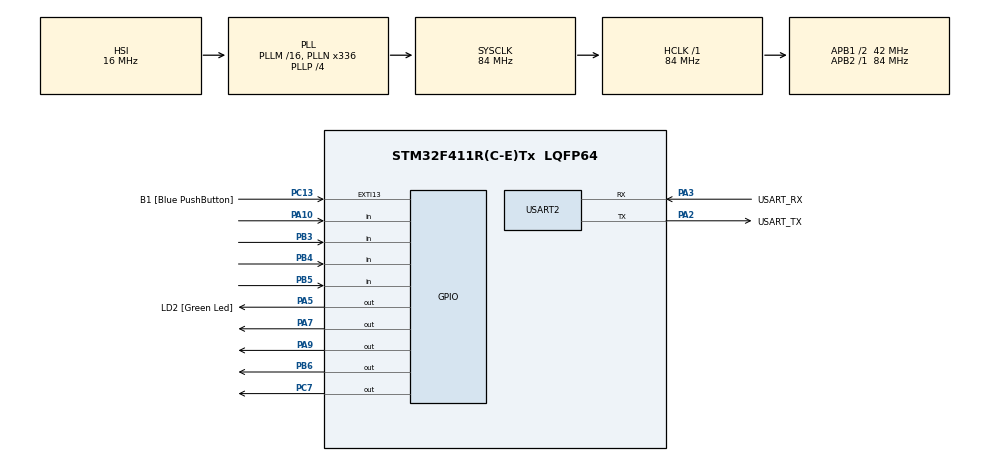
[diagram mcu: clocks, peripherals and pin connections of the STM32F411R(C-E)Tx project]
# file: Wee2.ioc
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Mcu.Family=STM32F4
Mcu.Name=STM32F411R(C-E)Tx
Mcu.Package=LQFP64
NVIC.PriorityGroup=NVIC_PRIORITYGROUP_0
PA10.GPIO_PuPd=GPIO_PULLUP
PA10.Signal=GPIO_Input
PA13.GPIO_Label=TMS
PA13.Mode=Serial_Wire
PA13.Signal=SYS_JTMS-SWDIO
PA14.GPIO_Label=TCK
PA14.Mode=Serial_Wire
PA14.Signal=SYS_JTCK-SWCLK
PA2.GPIO_Label=USART_TX
PA2.Mode=Asynchronous
PA2.Signal=USART2_TX
PA3.GPIO_Label=USART_RX
PA3.Mode=Asynchronous
PA3.Signal=USART2_RX
PA5.GPIO_Label=LD2 [Green Led]
PA5.Signal=GPIO_Output
PA7.GPIO_ModeDefaultOutputPP=GPIO_MODE_OUTPUT_OD
PA7.PinState=GPIO_PIN_SET
PA7.Signal=GPIO_Output
PA9.GPIO_ModeDefaultOutputPP=GPIO_MODE_OUTPUT_OD
PA9.PinState=GPIO_PIN_SET
PA9.Signal=GPIO_Output
PB3.GPIO_PuPd=GPIO_PULLUP
PB3.Signal=GPIO_Input
PB4.GPIO_PuPd=GPIO_PULLUP
PB4.Signal=GPIO_Input
PB5.GPIO_PuPd=GPIO_PULLUP
PB5.Signal=GPIO_Input
PB6.GPIO_ModeDefaultOutputPP=GPIO_MODE_OUTPUT_OD
PB6.PinState=GPIO_PIN_SET
PB6.Signal=GPIO_Output
PC13-ANTI_TAMP.GPIO_Label=B1 [Blue PushButton]
PC13-ANTI_TAMP.GPIO_ModeDefaultEXTI=GPIO_MODE_IT_FALLING
PC13-ANTI_TAMP.Signal=GPXTI13
PC14-OSC32_IN.Mode=LSE-External-Oscillator
PC14-OSC32_IN.Signal=RCC_OSC32_IN
PC15-OSC32_OUT.Mode=LSE-External-Oscillator
PC15-OSC32_OUT.Signal=RCC_OSC32_OUT
PC7.GPIO_ModeDefaultOutputPP=GPIO_MODE_OUTPUT_OD
PC7.PinState=GPIO_PIN_SET
PC7.Signal=GPIO_Output
PH0\ -\ OSC_IN.Mode=HSE-External-Clock-Source
PH0\ -\ OSC_IN.Signal=RCC_OSC_IN
PH1\ -\ OSC_OUT.Mode=HSE-External-Clock-Source
PH1\ -\ OSC_OUT.Signal=RCC_OSC_OUT
ProjectManager.HeapSize=0x200
ProjectManager.StackSize=0x400
ProjectManager.TargetToolchain=STM32CubeIDE
RCC.48MHZClocksFreq_Value=84000000
RCC.AHBFreq_Value=84000000
RCC.APB1CLKDivider=RCC_HCLK_DIV2
RCC.APB1Freq_Value=42000000
RCC.APB1TimFreq_Value=84000000
RCC.APB2Freq_Value=84000000
RCC.APB2TimFreq_Value=84000000
RCC.CortexFreq_Value=84000000
RCC.FLatency-AdvancedSettings=FLASH_LATENCY_2
RCC.HCLKFreq_Value=84000000
RCC.HSE_VALUE=8000000
RCC.HSI_VALUE=16000000
RCC.PLLN=336
RCC.PLLP=RCC_PLLP_DIV4
RCC.SYSCLKFreq_VALUE=84000000
RCC.SYSCLKSource=RCC_SYSCLKSOURCE_PLLCLK
RCC.VCOOutputFreq_Value=336000000
USART2.VirtualMode=VM_ASYNC
board=NUCLEO-F411RE

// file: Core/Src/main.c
/* USER CODE BEGIN Header */
/**
  ******************************************************************************
  * @file           : main.c
  * @brief          : Main program body
  ******************************************************************************
  * @attention
  *
  * <h2><center>&copy; Copyright (c) 2021 STMicroelectronics.
  * All rights reserved.</center></h2>
  *
  * This software component is licensed by ST under BSD 3-Clause license,
  * the "License"; You may not use this file except in compliance with the
  * License. You may obtain a copy of the License at:
  *                        opensource.org/licenses/BSD-3-Clause
  *
  ******************************************************************************
  */
/* USER CODE END Header */
#include "main.h"

UART_HandleTypeDef huart2;

/* USER CODE BEGIN PV */
uint16_t ButtonMatrixState = 0 ;
/* USER CODE END PV */

void SystemClock_Config(void);
static void MX_GPIO_Init(void);
static void MX_USART2_UART_Init(void);
/* USER CODE BEGIN PFP */

void BottonMatrixUpdate() ;
//Button Timestamp
uint32_t ButtonMatrixTimeStamp = 0 ;
/* USER CODE END PFP */

int main(void)
{

  /* MCU Configuration--------------------------------------------------------*/

  /* Reset of all peripherals, Initializes the Flash interface and the Systick. */
  HAL_Init();

  /* Configure the system clock */
  SystemClock_Config();

  /* Initialize all configured peripherals */
  MX_GPIO_Init();
  MX_USART2_UART_Init();

  /* Infinite loop */
  /* USER CODE BEGIN WHILE */
  while (1)
  {
	  if(ButtonMatrixState == 0x8000)
	  {
		  HAL_GPIO_WritePin(GPIOA, GPIO_PIN_5, GPIO_PIN_SET);
	  }
	  else if(ButtonMatrixState == 0x400)
	  {
		  HAL_GPIO_WritePin(GPIOA, GPIO_PIN_5, GPIO_PIN_SET);
	  }
	  else if(ButtonMatrixState == 0x20)
	  	  {
	  		  HAL_GPIO_WritePin(GPIOA, GPIO_PIN_5, GPIO_PIN_SET);
	  	  }
	  else if(ButtonMatrixState == 0x1)
	  	  {
	  		  HAL_GPIO_WritePin(GPIOA, GPIO_PIN_5, GPIO_PIN_SET);
	  	  }
	  else
	  {
		  HAL_GPIO_WritePin(GPIOA, GPIO_PIN_5, GPIO_PIN_RESET);
	  }

	  /* USER CODE END WHILE */

    /* USER CODE BEGIN 3 */
	  BottonMatrixUpdate();
  }
  /* USER CODE END 3 */
}

void SystemClock_Config(void)
{
  RCC_OscInitTypeDef RCC_OscInitStruct = {0};
  RCC_ClkInitTypeDef RCC_ClkInitStruct = {0};

  /** Configure the main internal regulator output voltage
  */
  __HAL_RCC_PWR_CLK_ENABLE();
  __HAL_PWR_VOLTAGESCALING_CONFIG(PWR_REGULATOR_VOLTAGE_SCALE1);
  /** Initializes the RCC Oscillators according to the specified parameters
  * in the RCC_OscInitTypeDef structure.
  */
  RCC_OscInitStruct.OscillatorType = RCC_OSCILLATORTYPE_HSI;
  RCC_OscInitStruct.HSIState = RCC_HSI_ON;
  RCC_OscInitStruct.HSICalibrationValue = RCC_HSICALIBRATION_DEFAULT;
  RCC_OscInitStruct.PLL.PLLState = RCC_PLL_ON;
  RCC_OscInitStruct.PLL.PLLSource = RCC_PLLSOURCE_HSI;
  RCC_OscInitStruct.PLL.PLLM = 16;
  RCC_OscInitStruct.PLL.PLLN = 336;
  RCC_OscInitStruct.PLL.PLLP = RCC_PLLP_DIV4;
  RCC_OscInitStruct.PLL.PLLQ = 4;
  if (HAL_RCC_OscConfig(&RCC_OscInitStruct) != HAL_OK)
  {
    Error_Handler();
  }
  /** Initializes the CPU, AHB and APB buses clocks
  */
  RCC_ClkInitStruct.ClockType = RCC_CLOCKTYPE_HCLK|RCC_CLOCKTYPE_SYSCLK
                              |RCC_CLOCKTYPE_PCLK1|RCC_CLOCKTYPE_PCLK2;
  RCC_ClkInitStruct.SYSCLKSource = RCC_SYSCLKSOURCE_PLLCLK;
  RCC_ClkInitStruct.AHBCLKDivider = RCC_SYSCLK_DIV1;
  RCC_ClkInitStruct.APB1CLKDivider = RCC_HCLK_DIV2;
  RCC_ClkInitStruct.APB2CLKDivider = RCC_HCLK_DIV1;

  if (HAL_RCC_ClockConfig(&RCC_ClkInitStruct, FLASH_LATENCY_2) != HAL_OK)
  {
    Error_Handler();
  }
}

static void MX_USART2_UART_Init(void)
{

  huart2.Instance = USART2;
  huart2.Init.BaudRate = 115200;
  huart2.Init.WordLength = UART_WORDLENGTH_8B;
  huart2.Init.StopBits = UART_STOPBITS_1;
  huart2.Init.Parity = UART_PARITY_NONE;
  huart2.Init.Mode = UART_MODE_TX_RX;
  huart2.Init.HwFlowCtl = UART_HWCONTROL_NONE;
  huart2.Init.OverSampling = UART_OVERSAMPLING_16;
  if (HAL_UART_Init(&huart2) != HAL_OK)
  {
    Error_Handler();
  }

}

static void MX_GPIO_Init(void)
{
  GPIO_InitTypeDef GPIO_InitStruct = {0};

  /* GPIO Ports Clock Enable */
  __HAL_RCC_GPIOC_CLK_ENABLE();
  __HAL_RCC_GPIOH_CLK_ENABLE();
  __HAL_RCC_GPIOA_CLK_ENABLE();
  __HAL_RCC_GPIOB_CLK_ENABLE();

  /*Configure GPIO pin Output Level */
  HAL_GPIO_WritePin(LD2_GPIO_Port, LD2_Pin, GPIO_PIN_RESET);

  /*Configure GPIO pin Output Level */
  HAL_GPIO_WritePin(GPIOA, GPIO_PIN_7|GPIO_PIN_9, GPIO_PIN_SET);

  /*Configure GPIO pin Output Level */
  HAL_GPIO_WritePin(GPIOC, GPIO_PIN_7, GPIO_PIN_SET);

  /*Configure GPIO pin Output Level */
  HAL_GPIO_WritePin(GPIOB, GPIO_PIN_6, GPIO_PIN_SET);

  /*Configure GPIO pin : B1_Pin */
  GPIO_InitStruct.Pin = B1_Pin;
  GPIO_InitStruct.Mode = GPIO_MODE_IT_FALLING;
  GPIO_InitStruct.Pull = GPIO_NOPULL;
  HAL_GPIO_Init(B1_GPIO_Port, &GPIO_InitStruct);

  /*Configure GPIO pin : LD2_Pin */
  GPIO_InitStruct.Pin = LD2_Pin;
  GPIO_InitStruct.Mode = GPIO_MODE_OUTPUT_PP;
  GPIO_InitStruct.Pull = GPIO_NOPULL;
  GPIO_InitStruct.Speed = GPIO_SPEED_FREQ_LOW;
  HAL_GPIO_Init(LD2_GPIO_Port, &GPIO_InitStruct);

  /*Configure GPIO pins : PA7 PA9 */
  GPIO_InitStruct.Pin = GPIO_PIN_7|GPIO_PIN_9;
  GPIO_InitStruct.Mode = GPIO_MODE_OUTPUT_OD;
  GPIO_InitStruct.Pull = GPIO_NOPULL;
  GPIO_InitStruct.Speed = GPIO_SPEED_FREQ_LOW;
  HAL_GPIO_Init(GPIOA, &GPIO_InitStruct);

  /*Configure GPIO pin : PC7 */
  GPIO_InitStruct.Pin = GPIO_PIN_7;
  GPIO_InitStruct.Mode = GPIO_MODE_OUTPUT_OD;
  GPIO_InitStruct.Pull = GPIO_NOPULL;
  GPIO_InitStruct.Speed = GPIO_SPEED_FREQ_LOW;
  HAL_GPIO_Init(GPIOC, &GPIO_InitStruct);

  /*Configure GPIO pin : PA10 */
  GPIO_InitStruct.Pin = GPIO_PIN_10;
  GPIO_InitStruct.Mode = GPIO_MODE_INPUT;
  GPIO_InitStruct.Pull = GPIO_PULLUP;
  HAL_GPIO_Init(GPIOA, &GPIO_InitStruct);

  /*Configure GPIO pins : PB3 PB4 PB5 */
  GPIO_InitStruct.Pin = GPIO_PIN_3|GPIO_PIN_4|GPIO_PIN_5;
  GPIO_InitStruct.Mode = GPIO_MODE_INPUT;
  GPIO_InitStruct.Pull = GPIO_PULLUP;
  HAL_GPIO_Init(GPIOB, &GPIO_InitStruct);

  /*Configure GPIO pin : PB6 */
  GPIO_InitStruct.Pin = GPIO_PIN_6;
  GPIO_InitStruct.Mode = GPIO_MODE_OUTPUT_OD;
  GPIO_InitStruct.Pull = GPIO_NOPULL;
  GPIO_InitStruct.Speed = GPIO_SPEED_FREQ_LOW;
  HAL_GPIO_Init(GPIOB, &GPIO_InitStruct);

}

/* USER CODE BEGIN 4 */
// port/pin array , 0-3 input , 4-7  output
GPIO_TypeDef* ButtonmatrixPort[8] = {GPIOA,GPIOB,GPIOB,GPIOB,GPIOA,GPIOC,GPIOB,GPIOA};
uint16_t ButtonMatrixPin[8] = {GPIO_PIN_10,GPIO_PIN_3,GPIO_PIN_5,GPIO_PIN_4
								,GPIO_PIN_9,GPIO_PIN_7,GPIO_PIN_6,GPIO_PIN_7} ;
uint8_t ButtonMatrixRow = 0 ;    //what R now

void BottonMatrixUpdate()
{
	if(HAL_GetTick() - ButtonMatrixTimeStamp >= 100)
	{

		ButtonMatrixTimeStamp = HAL_GetTick() ;
		 int i ;
		 for(i=0 ; i<4 ; ++i)
		 {//0-3
			GPIO_PinState Pinstate = HAL_GPIO_ReadPin(ButtonmatrixPort[i], ButtonMatrixPin[i]);
			if(Pinstate == GPIO_PIN_RESET) // Button Press
			{
				ButtonMatrixState |= (uint16_t)1 << (i + ButtonMatrixRow *4 ) ;  // i = 3//0b0000000000000000 | 0b1000
			}
			else
			{
				ButtonMatrixState &= ~((uint16_t)1 << (i + ButtonMatrixRow *4 )); //0b0000000000000000 & ~(0b1000)  //ตำเเหน่งที่ไม่กดเป็น 0

			}
		 }
		 //Set Rn
		 uint8_t NowOutputPin = ButtonMatrixRow + 4 ;
		 HAL_GPIO_WritePin(ButtonmatrixPort[NowOutputPin], ButtonMatrixPin[NowOutputPin], GPIO_PIN_SET) ;	//Setปัจจุบัน

		 // update New Row
		 ButtonMatrixRow = (ButtonMatrixRow +1) % 4 ; // วน 0 - 3 ถ้าเป็น 4 ก็จะ 0 โดย %

		 // Reset Rn+1
		 uint8_t NextOutputPin = ButtonMatrixRow + 4 ;
		 HAL_GPIO_WritePin(ButtonmatrixPort[NextOutputPin], ButtonMatrixPin[NextOutputPin], GPIO_PIN_RESET);

	}

}

/* USER CODE END 4 */

void Error_Handler(void)
{
  __disable_irq();
  while (1)
  {
  }
}

/************************ (C) COPYRIGHT STMicroelectronics *****END OF FILE****/
